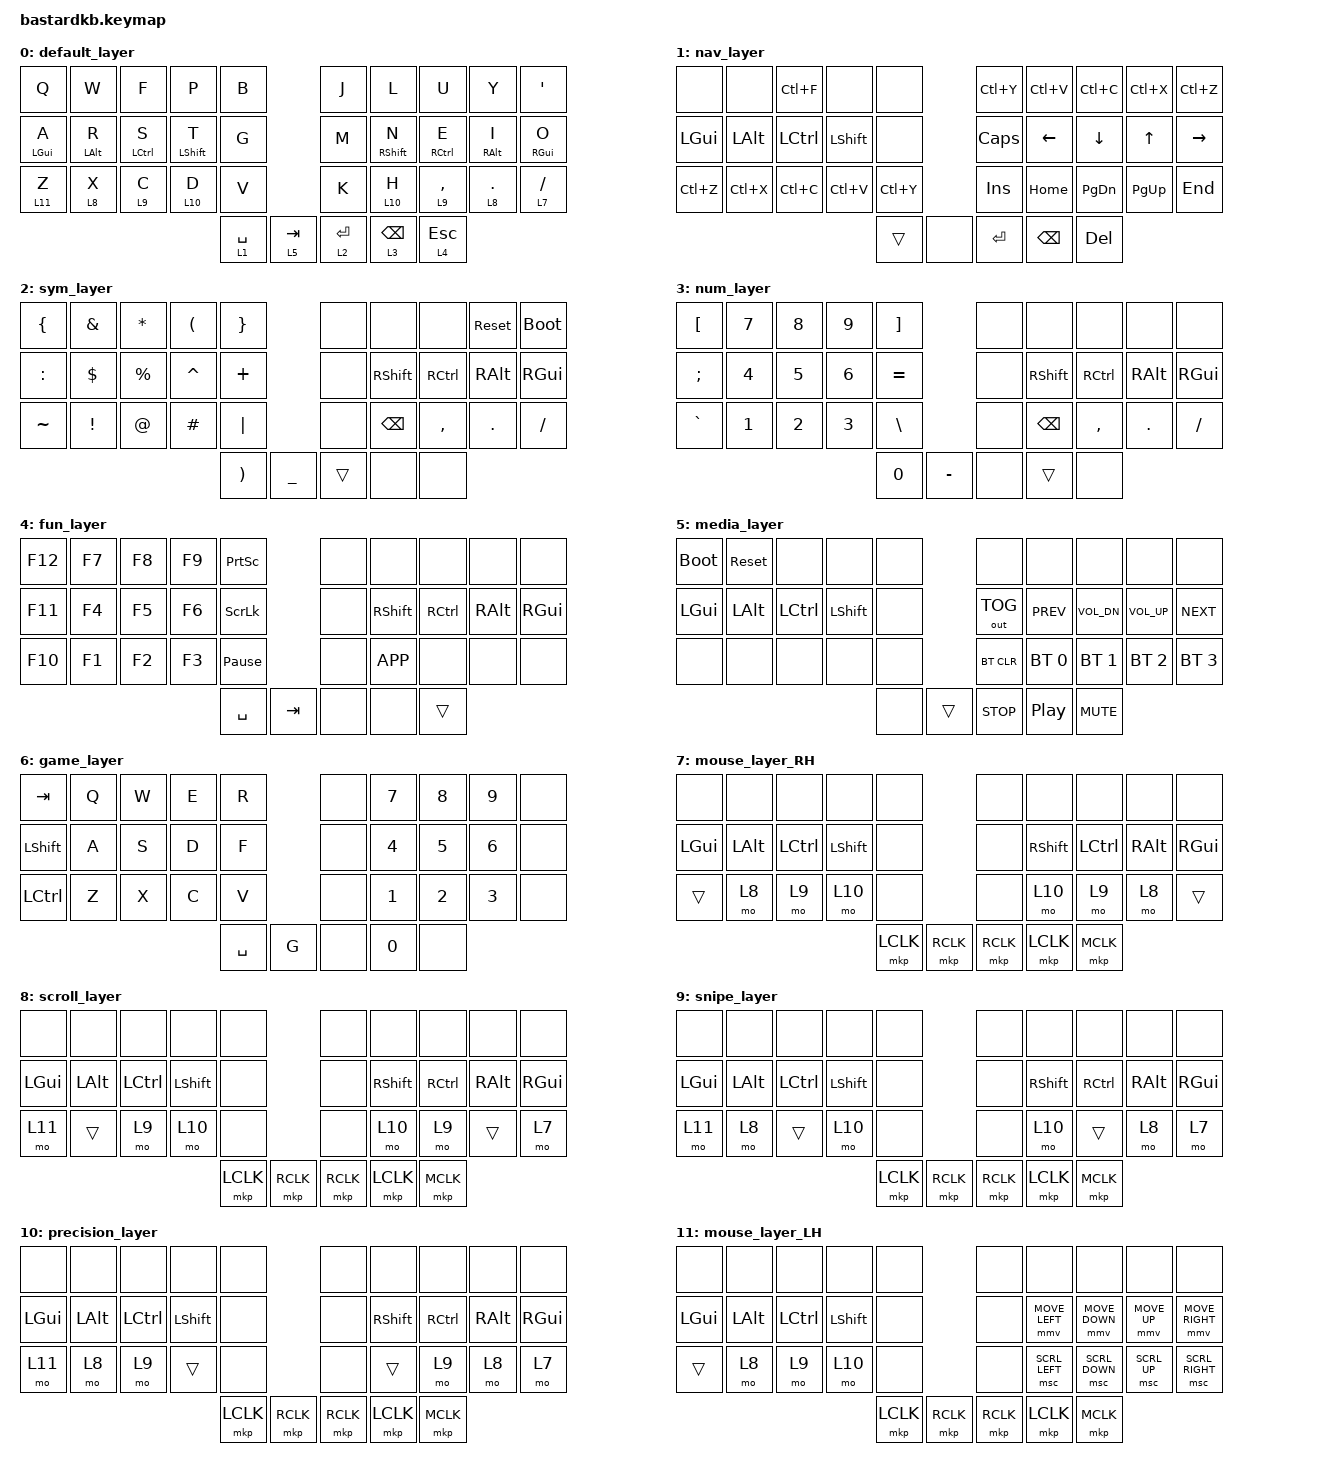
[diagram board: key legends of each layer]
#include <input/processors.dtsi>
#include <zephyr/dt-bindings/input/input-event-codes.h>
#include <dt-bindings/zmk/input_transform.h>
#include <behaviors.dtsi>
#include <dt-bindings/zmk/bt.h>
#include <dt-bindings/zmk/keys.h>
#include <dt-bindings/zmk/outputs.h>
#include <dt-bindings/zmk/pointing.h>

// The default keymap is roughly on Miryoku layout
// (https://github.com/manna-harbour/miryoku).
// Customize on your own on the config folder.

&caps_word { continue-list = <BACKSPACE DELETE>; };

/ {
    behaviors {
        ht_lh: hold_tap_lh {
            compatible = "zmk,behavior-hold-tap";
            label = "HOLD_TAP_LH";
            #binding-cells = <2>;
            tapping-term-ms = <280>;
            flavor = "balanced";
            bindings = <&kp>, <&kp>;

            quick-tap-ms = <175>;
            retro-tap;
            hold-trigger-key-positions = <30 32 31 33 34 25 26 27 28 29 19 18 17 16 15 5 6 8 7 9>;
            require-prior-idle-ms = <150>;
            hold-trigger-on-release;
        };

        htl: htl {
            compatible = "zmk,behavior-hold-tap";
            label = "HTL";
            bindings = <&kp>, <&kp>;

            #binding-cells = <2>;
            tapping-term-ms = <200>;
            flavor = "tap-preferred";
            quick-tap-ms = <200>;
            retro-tap;
        };

        html: html {
            compatible = "zmk,behavior-hold-tap";
            label = "HTML";
            bindings = <&mo>, <&kp>;

            #binding-cells = <2>;
            tapping-term-ms = <135>;
            quick-tap-ms = <200>;
            flavor = "tap-preferred";
            retro-tap;
            hold-trigger-key-positions = <11 12>;
        };

        ht_gui: ht_gui {
            compatible = "zmk,behavior-hold-tap";
            label = "HT_GUI";
            bindings = <&kp>, <&kp>;

            #binding-cells = <2>;
            tapping-term-ms = <180>;
            quick-tap-ms = <200>;
            flavor = "tap-preferred";
            retro-tap;
        };

        ht_rh: hold_tap_rh {
            compatible = "zmk,behavior-hold-tap";
            label = "HOLD_TAP_RH";
            #binding-cells = <2>;
            tapping-term-ms = <280>;
            flavor = "balanced";
            bindings = <&kp>, <&kp>;

            quick-tap-ms = <175>;
            retro-tap;
            require-prior-idle-ms = <150>;
            hold-trigger-on-release;
            hold-trigger-key-positions = <34 33 32 31 30 0 1 2 3 4 10 11 12 13 14 20 21 22 23 24>;
        };
    };

    keymap {
        compatible = "zmk,keymap";

        default_layer {
            bindings = <
&kp Q          &kp W          &kp F           &kp P           &kp B                              &kp J       &kp L           &kp U           &kp Y          &kp SQT
&ht_lh LGUI A  &ht_lh LALT R  &ht_lh LCTRL S  &ht_lh LSHFT T  &kp G                              &kp M       &ht_rh RSHFT N  &ht_rh RCTRL E  &ht_rh RALT I  &ht_rh RGUI O
&lt 11 Z       &lt 8 X        &lt 9 C         &lt 10 D        &kp V                              &kp K       &lt 10 H        &lt 9 COMMA     &lt 8 PERIOD   &lt 7 SLASH
                                                              &lt 1 SPACE  &lt 5 TAB  &lt 2 RET  &lt 3 BSPC  &lt 4 ESC
            >;
        };

        nav_layer {
            bindings = <
&none      &none      &kp LC(F)  &none      &none                      &kp LC(Y)  &kp LC(V)  &kp LC(C)       &kp LC(X)     &kp LC(Z)
&kp LGUI   &kp LALT   &kp LCTRL  &kp LSHFT  &none                      &kp CAPS   &kp LEFT   &kp DOWN_ARROW  &kp UP_ARROW  &kp RIGHT_ARROW
&kp LC(Z)  &kp LC(X)  &kp LC(C)  &kp LC(V)  &kp LC(Y)                  &kp INS    &kp HOME   &kp PAGE_DOWN   &kp PAGE_UP   &kp END
                                            &trans     &none  &kp RET  &kp BSPC   &kp DEL
            >;
        };

        sym_layer {
            bindings = <
&kp LBRC   &kp AMPS  &kp STAR   &kp LPAR   &kp RBRC                     &none  &none      &none      &sys_reset  &bootloader
&kp COLON  &kp DLLR  &kp PRCNT  &kp CARET  &kp PLUS                     &none  &kp RSHFT  &kp RCTRL  &kp RALT    &kp RGUI
&kp TILDE  &kp EXCL  &kp AT     &kp HASH   &kp PIPE                     &none  &kp BSPC   &kp COMMA  &kp DOT     &kp SLASH
                                           &kp RPAR  &kp UNDER  &trans  &none  &none
            >;
        };

        num_layer {
            bindings = <
&kp LBKT   &kp N7  &kp N8  &kp N9  &kp RBKT                     &none   &none      &none      &none     &none
&kp SEMI   &kp N4  &kp N5  &kp N6  &kp EQUAL                    &none   &kp RSHFT  &kp RCTRL  &kp RALT  &kp RGUI
&kp GRAVE  &kp N1  &kp N2  &kp N3  &kp BSLH                     &none   &kp BSPC   &kp COMMA  &kp DOT   &kp SLASH
                                   &kp N0     &kp MINUS  &none  &trans  &none
            >;
        };

        fun_layer {
            bindings = <
&kp F12  &kp F7  &kp F8  &kp F9  &kp PSCRN                        &none  &none      &none      &none     &none
&kp F11  &kp F4  &kp F5  &kp F6  &kp SLCK                         &none  &kp RSHFT  &kp RCTRL  &kp RALT  &kp RGUI
&kp F10  &kp F1  &kp F2  &kp F3  &kp PAUSE_BREAK                  &none  &kp K_APP  &none      &none     &none
                                 &kp SPACE        &kp TAB  &none  &none  &trans
            >;
        };

        media_layer {
            bindings = <
&bootloader  &sys_reset  &none      &none      &none                      &none         &none         &none         &none         &none
&kp LGUI     &kp LALT    &kp LCTRL  &kp LSHFT  &none                      &out OUT_TOG  &kp C_PREV    &kp C_VOL_DN  &kp C_VOL_UP  &kp C_NEXT
&none        &none       &none      &none      &none                      &bt BT_CLR    &bt BT_SEL 0  &bt BT_SEL 1  &bt BT_SEL 2  &bt BT_SEL 3
                                               &none  &trans  &kp C_STOP  &kp C_PP      &kp C_MUTE
            >;
        };

        game_layer {
            bindings = <
&kp TAB         &kp Q  &kp W  &kp E  &kp R                    &none         &kp NUMBER_7  &kp NUMBER_8  &kp NUMBER_9  &none
&kp LEFT_SHIFT  &kp A  &kp S  &kp D  &kp F                    &none         &kp NUMBER_4  &kp NUMBER_5  &kp NUMBER_6  &none
&kp LCTRL       &kp Z  &kp X  &kp C  &kp V                    &none         &kp NUMBER_1  &kp NUMBER_2  &kp NUMBER_3  &none
                                     &kp SPACE  &kp G  &none  &kp NUMBER_0  &none
            >;
        };

        mouse_layer_RH {
            bindings = <
&none     &none     &none      &none      &none                            &none      &none      &none      &none     &none
&kp LGUI  &kp LALT  &kp LCTRL  &kp LSHFT  &none                            &none      &kp RSHFT  &kp LCTRL  &kp RALT  &kp RGUI
&trans    &mo 8     &mo 9      &mo 10     &none                            &none      &mo 10     &mo 9      &mo 8     &trans
                                          &mkp LCLK  &mkp RCLK  &mkp RCLK  &mkp LCLK  &mkp MCLK
            >;
        };

        scroll_layer {
            bindings = <
&none     &none     &none      &none      &none                            &none      &none      &none      &none     &none
&kp LGUI  &kp LALT  &kp LCTRL  &kp LSHFT  &none                            &none      &kp RSHFT  &kp RCTRL  &kp RALT  &kp RGUI
&mo 11    &trans    &mo 9      &mo 10     &none                            &none      &mo 10     &mo 9      &trans    &mo 7
                                          &mkp LCLK  &mkp RCLK  &mkp RCLK  &mkp LCLK  &mkp MCLK
            >;
        };

        snipe_layer {
            bindings = <
&none     &none     &none      &none      &none                            &none      &none      &none      &none     &none
&kp LGUI  &kp LALT  &kp LCTRL  &kp LSHFT  &none                            &none      &kp RSHFT  &kp RCTRL  &kp RALT  &kp RGUI
&mo 11    &mo 8     &trans     &mo 10     &none                            &none      &mo 10     &trans     &mo 8     &mo 7
                                          &mkp LCLK  &mkp RCLK  &mkp RCLK  &mkp LCLK  &mkp MCLK
            >;
        };

        precision_layer {
            bindings = <
&none     &none     &none      &none      &none                            &none      &none      &none      &none     &none
&kp LGUI  &kp LALT  &kp LCTRL  &kp LSHFT  &none                            &none      &kp RSHFT  &kp RCTRL  &kp RALT  &kp RGUI
&mo 11    &mo 8     &mo 9      &trans     &none                            &none      &trans     &mo 9      &mo 8     &mo 7
                                          &mkp LCLK  &mkp RCLK  &mkp RCLK  &mkp LCLK  &mkp MCLK
            >;
        };

        mouse_layer_LH {
            bindings = <
&none     &none     &none      &none      &none                            &none      &none           &none           &none         &none
&kp LGUI  &kp LALT  &kp LCTRL  &kp LSHFT  &none                            &none      &mmv MOVE_LEFT  &mmv MOVE_DOWN  &mmv MOVE_UP  &mmv MOVE_RIGHT
&trans    &mo 8     &mo 9      &mo 10     &none                            &none      &msc SCRL_LEFT  &msc SCRL_DOWN  &msc SCRL_UP  &msc SCRL_RIGHT
                                          &mkp LCLK  &mkp RCLK  &mkp RCLK  &mkp LCLK  &mkp MCLK
            >;
        };
    };
};

/ {
    combos {
        compatible = "zmk,combos";

        f13 {
            timeout-ms = <50>;
            key-positions = <32 31>;
            bindings = <&kp F13>;
        };

        Game_Layer {
            bindings = <&to 6>;
            key-positions = <34 29>;
            layers = <0>;
        };

        Base_Layer {
            bindings = <&to 0>;
            key-positions = <30 33>;
            layers = <6>;
        };

        caps_word {
            bindings = <&caps_word>;
            key-positions = <14 15>;
        };
    };
};
